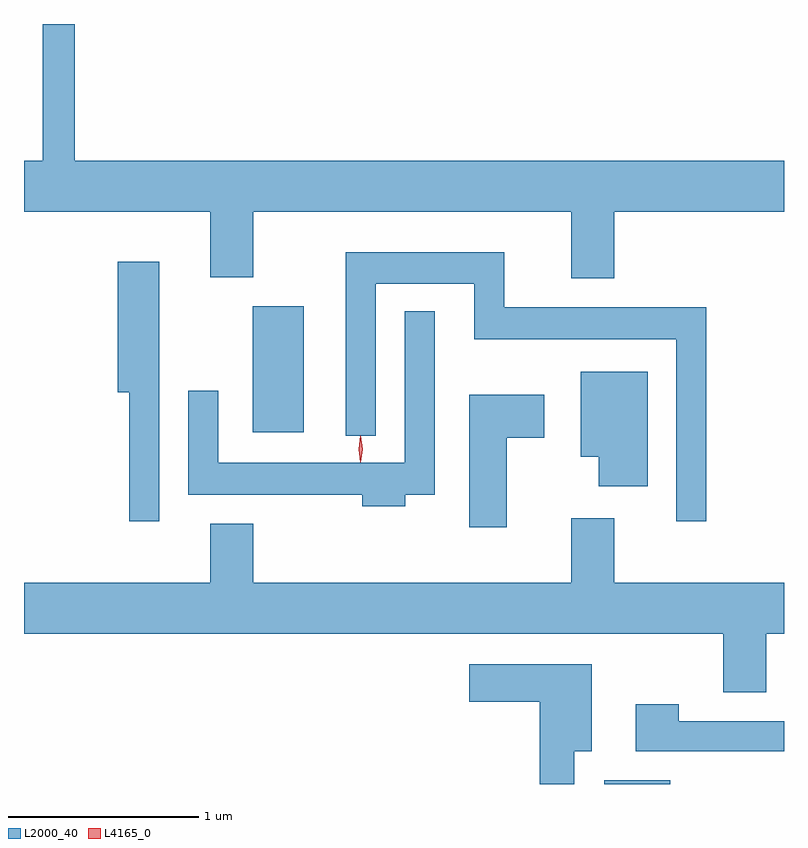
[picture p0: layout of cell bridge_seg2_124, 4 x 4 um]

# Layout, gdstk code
import gdstk
lib = gdstk.Library(unit=1e-6, precision=1e-09)
def R(c, l, rs):  # rectangles x0, y0, x1, y1
    for r in rs: c.add(gdstk.rectangle(r[:2], r[2:], *l))
def P(c, l, *ps):  # polygons
    for p in ps: c.add(gdstk.Polygon(p, *l))
L2000_40 = (2000, 40)
L4165_0 = (4165, 0)

bridge_seg2_124 = lib.new_cell('bridge_seg2_124')
R(bridge_seg2_124, L2000_40, [(981.536,1054.184,981.884,1054.204), (979.686,1056.036,979.954,1056.699)])
P(bridge_seg2_124, L2000_40, [(981.589,1057.196),(982.482,1057.196),(982.482,1057.464),(978.749,1057.464),(978.749,1058.184),(978.581,1058.184),(978.581,1057.464),(978.482,1057.464),(978.482,1057.196),(979.461,1057.196),(979.461,1056.851),(979.689,1056.851),(979.689,1057.196),(981.361,1057.196),(981.361,1056.846),(981.589,1056.846)],
  [(982.074,1056.694),(981.009,1056.694),(981.009,1056.984),(980.176,1056.984),(980.176,1056.018),(980.334,1056.018),(980.334,1056.816),(980.851,1056.816),(980.851,1056.526),(981.916,1056.526),(981.916,1055.568),(982.074,1055.568)],
  [(979.194,1056.934),(978.976,1056.934),(978.976,1056.246),(979.036,1056.246),(979.036,1055.568),(979.194,1055.568)],
  [(980.489,1055.706),(980.644,1055.706),(980.644,1056.673),(980.486,1056.673),(980.486,1055.874),(979.504,1055.874),(979.504,1056.253),(979.346,1056.253),(979.346,1055.706),(980.261,1055.706),(980.261,1055.646),(980.489,1055.646)],
  [(981.764,1056.354),(981.411,1056.354),(981.411,1055.906),(981.506,1055.906),(981.506,1055.751),(981.764,1055.751)],
  [(981.024,1056.006),(981.219,1056.006),(981.219,1056.234),(980.826,1056.234),(980.826,1055.536),(981.024,1055.536)],
  [(982.389,1054.976),(982.482,1054.976),(982.482,1055.244),(981.589,1055.244),(981.589,1055.584),(981.361,1055.584),(981.361,1055.244),(979.689,1055.244),(979.689,1055.554),(979.461,1055.554),(979.461,1055.244),(978.482,1055.244),(978.482,1054.976),(982.161,1054.976),(982.161,1054.666),(982.389,1054.666)],
  [(981.379,1054.356),(981.469,1054.356),(981.469,1054.814),(980.826,1054.814),(980.826,1054.616),(981.196,1054.616),(981.196,1054.184),(981.379,1054.184)],
  [(982.482,1054.514),(981.929,1054.514),(981.929,1054.604),(981.701,1054.604),(981.701,1054.356),(982.482,1054.356)])
P(bridge_seg2_124, L4165_0, [(980.253,1055.877),(980.244,1055.946),(980.253,1056.016),(980.254,1056.016),(980.254,1056.016),(980.264,1055.946),(980.254,1055.877),(980.254,1055.877)],
  [(980.254,1055.879),(980.253,1055.88),(980.244,1055.946),(980.253,1056.012),(980.254,1056.013),(980.254,1056.012),(980.264,1055.946),(980.254,1055.88)])

lib.write_gds('bridge_seg2_124.gds')
